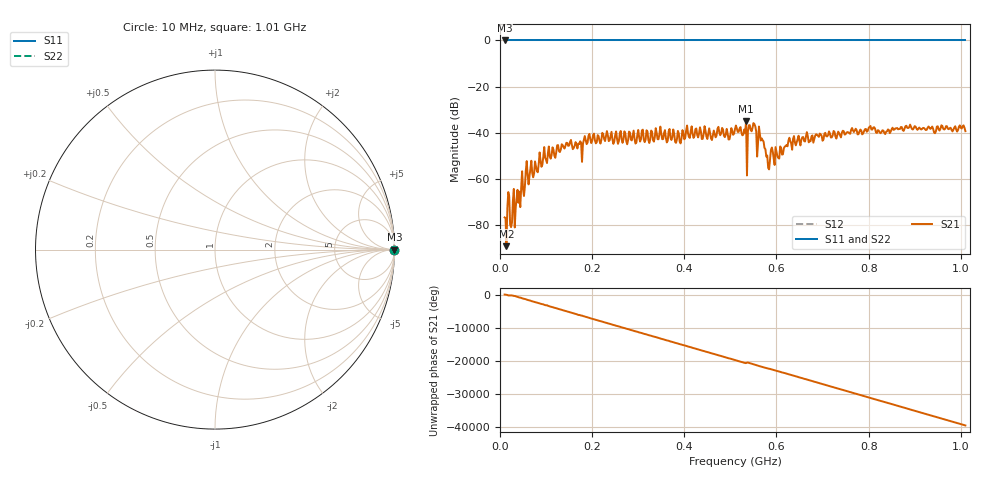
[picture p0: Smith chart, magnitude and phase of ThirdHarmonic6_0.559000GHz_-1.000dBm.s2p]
! 8/15/2025 5:49:03 PM
! C:\ANRITSUVNA\TEMP\TEMP.S2P
! CHANNEL.1
! TR.MEASUREMENT
! RAW.DATA
! RF.CORRECTION.OFF
! AVERAGING.OFF
! IF.BANDWIDTH: 5KHZ
! SWEEPTYPE:  FREQ.SWEEP(Linear)
! Reference Plane Port Info
! PORT:  PORT1  PORT2
! DISTANCE:  0  m  0  m
! TIME:  0  s  0  s
! PHASE.OFFSET:  0  deg.  0  deg.
! LOSS:  0  dB  0  dB
! REF.LOSS:  0  dB  0  dB
! REF.FREQ:  0  Hz  0  Hz
! Power Info
! POWER:  -20  dBm  -20  dBm
! EFF.POWER:  -20  dBm  -20  dBm
! SOURCE.ATTEN:  0  dB  0  dB
! TEST.ATTEN:  0  dB  0  dB
# GHZ S RI R 50.0
! FREQ.GHZ  S11RE  S11IM  S21RE  S21IM  S12RE  S12IM  S22RE  S22IM
!; PortSelection: Port_12
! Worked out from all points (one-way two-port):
!   501 points, 10 MHz to 1.01 GHz, reference 50 ohm
!   highest |S21| = -34.88 dB at 534 MHz (marker M1); lowest = -89.0 dB at 14 MHz (marker M2)
!   lowest |S11| = 0.0 dB at 10 MHz (marker M3)
!   |S11| at or under -10 dB: nowhere
!   |S22| runs from 0.0 to 0.0 dB; largest |S21 - S12| = 1
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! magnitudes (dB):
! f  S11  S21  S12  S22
! 10 MHz  0.0  -76.6  0.0  0.0
! 14 MHz  0.0  -89.0  0.0  0.0
! 28 MHz  0.0  -69.5  0.0  0.0
! 60 MHz  0.0  -58.2  0.0  0.0
! 96 MHz  0.0  -46.1  0.0  0.0
! 150 MHz  0.0  -45.5  0.0  0.0
! 178 MHz  0.0  -52.5  0.0  0.0
! 228 MHz  0.0  -43.6  0.0  0.0
! 344 MHz  0.0  -42.8  0.0  0.0
! 510 MHz  0.0  -38.3  0.0  0.0
! 530 MHz  0.0  -38.6  0.0  0.0
! 534 MHz  0.0  -34.9  0.0  0.0
! 552 MHz  0.0  -36.2  0.0  0.0
! 556 MHz  0.0  -39.3  0.0  0.0
! 566 MHz  0.0  -43.3  0.0  0.0
! 582 MHz  0.0  -55.2  0.0  0.0
! 590 MHz  0.0  -46.4  0.0  0.0
! 626 MHz  0.0  -43.4  0.0  0.0
! 678 MHz  0.0  -41.1  0.0  0.0
! 806 MHz  0.0  -38.5  0.0  0.0
! 844 MHz  0.0  -38.8  0.0  0.0
! 1.01 GHz  0.0  -39.3  0.0  0.0
